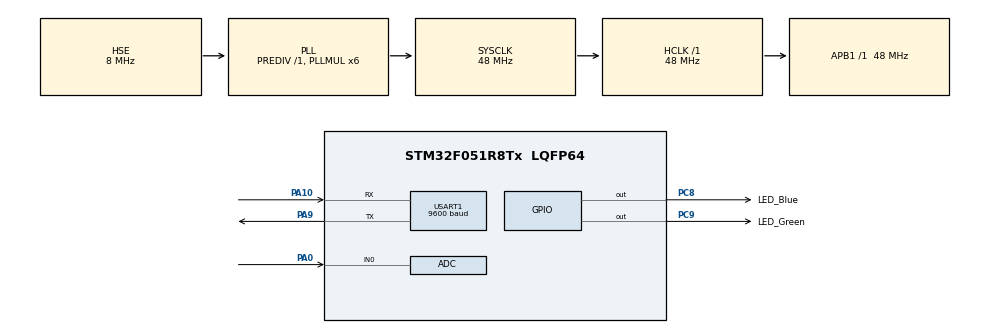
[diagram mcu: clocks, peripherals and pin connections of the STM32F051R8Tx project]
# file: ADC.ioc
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ADC.ContinuousConvMode=ENABLE
ADC.DMAContinuousRequests=DISABLE
ADC.Resolution=ADC_RESOLUTION_8B
Dma.ADC.0.Direction=DMA_PERIPH_TO_MEMORY
Dma.ADC.0.Instance=DMA1_Channel1
Dma.ADC.0.MemDataAlignment=DMA_MDATAALIGN_BYTE
Dma.ADC.0.MemInc=DMA_MINC_ENABLE
Dma.ADC.0.Mode=DMA_CIRCULAR
Dma.ADC.0.PeriphDataAlignment=DMA_PDATAALIGN_BYTE
Dma.ADC.0.PeriphInc=DMA_PINC_DISABLE
Dma.ADC.0.Priority=DMA_PRIORITY_LOW
Dma.Request0=ADC
Mcu.Family=STM32F0
Mcu.Name=STM32F051R8Tx
Mcu.Package=LQFP64
NVIC.DMA1_Channel1_IRQn=true\:0\:0\:false\:false\:true\:false\:true\:true
NVIC.TIM6_DAC_IRQn=true\:0\:0\:false\:false\:true\:true\:true\:true
NVIC.USART1_IRQn=true\:0\:0\:false\:false\:true\:true\:true\:true
PA0.Mode=IN0
PA0.Signal=ADC_IN0
PA10.Mode=Asynchronous
PA10.Signal=USART1_RX
PA9.Mode=Asynchronous
PA9.Signal=USART1_TX
PC8.GPIO_Label=LED_Blue
PC8.Signal=GPIO_Output
PC9.GPIO_Label=LED_Green
PC9.Signal=GPIO_Output
PF0-OSC_IN.Mode=HSE-External-Oscillator
PF0-OSC_IN.Signal=RCC_OSC_IN
PF1-OSC_OUT.Mode=HSE-External-Oscillator
PF1-OSC_OUT.Signal=RCC_OSC_OUT
ProjectManager.HeapSize=0x200
ProjectManager.StackSize=0x400
ProjectManager.TargetToolchain=STM32CubeIDE
RCC.AHBFreq_Value=48000000
RCC.APB1Freq_Value=48000000
RCC.APB1TimFreq_Value=48000000
RCC.HCLKFreq_Value=48000000
RCC.PLLMUL=RCC_PLL_MUL6
RCC.PLLSourceVirtual=RCC_PLLSOURCE_HSE
RCC.SYSCLKFreq_VALUE=48000000
RCC.SYSCLKSource=RCC_SYSCLKSOURCE_PLLCLK
TIM6.Period=1000-1
TIM6.Prescaler=48000-1
USART1.BaudRate=9600
USART1.VirtualMode-Asynchronous=VM_ASYNC
VP_TIM6_VS_ClockSourceINT.Mode=Enable_Timer
board=custom

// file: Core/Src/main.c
/* USER CODE BEGIN Header */
/**
  ******************************************************************************
  * @file           : main.c
  * @brief          : Main program body
  ******************************************************************************
  * @attention
  *
  * Copyright (c) 2024 STMicroelectronics.
  * All rights reserved.
  *
  * This software is licensed under terms that can be found in the LICENSE file
  * in the root directory of this software component.
  * If no LICENSE file comes with this software, it is provided AS-IS.
  *
  ******************************************************************************
  */
/* USER CODE END Header */
#include "main.h"

ADC_HandleTypeDef hadc;
DMA_HandleTypeDef hdma_adc;

TIM_HandleTypeDef htim6;

UART_HandleTypeDef huart1;

/* USER CODE BEGIN PV */

uint8_t adc_val;
char uart_buffer[50];
uint8_t dma_buffer;

/* USER CODE END PV */

void SystemClock_Config(void);
static void MX_GPIO_Init(void);
static void MX_DMA_Init(void);
static void MX_TIM6_Init(void);
static void MX_USART1_UART_Init(void);
static void MX_ADC_Init(void);

int main(void)
{

  /* MCU Configuration--------------------------------------------------------*/

  /* Reset of all peripherals, Initializes the Flash interface and the Systick. */
  HAL_Init();

  /* Configure the system clock */
  SystemClock_Config();

  /* Initialize all configured peripherals */
  MX_GPIO_Init();
  MX_DMA_Init();
  MX_TIM6_Init();
  MX_USART1_UART_Init();
  MX_ADC_Init();
  /* USER CODE BEGIN 2 */

  // Send message through UART at programm start
  uint8_t msg_init[] = "Program started.\n";
  HAL_UART_Transmit(&huart1, msg_init, sizeof(msg_init), HAL_MAX_DELAY);
  // Blink Green LED at programm start
  HAL_GPIO_TogglePin(GPIOC, LED_Green_Pin);

  // Start the timer (TIM6) Interrupt Handler
  HAL_TIM_Base_Start_IT(&htim6);

  /* USER CODE END 2 */

  /* Infinite loop */
  /* USER CODE BEGIN WHILE */
  while (1)
  {
	  __WFI();
    /* USER CODE END WHILE */

  }
}

void SystemClock_Config(void)
{
  RCC_OscInitTypeDef RCC_OscInitStruct = {0};
  RCC_ClkInitTypeDef RCC_ClkInitStruct = {0};
  RCC_PeriphCLKInitTypeDef PeriphClkInit = {0};

  /** Initializes the RCC Oscillators according to the specified parameters
  * in the RCC_OscInitTypeDef structure.
  */
  RCC_OscInitStruct.OscillatorType = RCC_OSCILLATORTYPE_HSI14|RCC_OSCILLATORTYPE_HSE;
  RCC_OscInitStruct.HSEState = RCC_HSE_ON;
  RCC_OscInitStruct.HSI14State = RCC_HSI14_ON;
  RCC_OscInitStruct.HSI14CalibrationValue = 16;
  RCC_OscInitStruct.PLL.PLLState = RCC_PLL_ON;
  RCC_OscInitStruct.PLL.PLLSource = RCC_PLLSOURCE_HSE;
  RCC_OscInitStruct.PLL.PLLMUL = RCC_PLL_MUL6;
  RCC_OscInitStruct.PLL.PREDIV = RCC_PREDIV_DIV1;
  if (HAL_RCC_OscConfig(&RCC_OscInitStruct) != HAL_OK)
  {
    Error_Handler();
  }

  /** Initializes the CPU, AHB and APB buses clocks
  */
  RCC_ClkInitStruct.ClockType = RCC_CLOCKTYPE_HCLK|RCC_CLOCKTYPE_SYSCLK
                              |RCC_CLOCKTYPE_PCLK1;
  RCC_ClkInitStruct.SYSCLKSource = RCC_SYSCLKSOURCE_PLLCLK;
  RCC_ClkInitStruct.AHBCLKDivider = RCC_SYSCLK_DIV1;
  RCC_ClkInitStruct.APB1CLKDivider = RCC_HCLK_DIV1;

  if (HAL_RCC_ClockConfig(&RCC_ClkInitStruct, FLASH_LATENCY_1) != HAL_OK)
  {
    Error_Handler();
  }
  PeriphClkInit.PeriphClockSelection = RCC_PERIPHCLK_USART1;
  PeriphClkInit.Usart1ClockSelection = RCC_USART1CLKSOURCE_PCLK1;
  if (HAL_RCCEx_PeriphCLKConfig(&PeriphClkInit) != HAL_OK)
  {
    Error_Handler();
  }
}

static void MX_ADC_Init(void)
{

  ADC_ChannelConfTypeDef sConfig = {0};

  /** Configure the global features of the ADC (Clock, Resolution, Data Alignment and number of conversion)
  */
  hadc.Instance = ADC1;
  hadc.Init.ClockPrescaler = ADC_CLOCK_ASYNC_DIV1;
  hadc.Init.Resolution = ADC_RESOLUTION_8B;
  hadc.Init.DataAlign = ADC_DATAALIGN_RIGHT;
  hadc.Init.ScanConvMode = ADC_SCAN_DIRECTION_FORWARD;
  hadc.Init.EOCSelection = ADC_EOC_SINGLE_CONV;
  hadc.Init.LowPowerAutoWait = DISABLE;
  hadc.Init.LowPowerAutoPowerOff = DISABLE;
  hadc.Init.ContinuousConvMode = ENABLE;
  hadc.Init.DiscontinuousConvMode = DISABLE;
  hadc.Init.ExternalTrigConv = ADC_SOFTWARE_START;
  hadc.Init.ExternalTrigConvEdge = ADC_EXTERNALTRIGCONVEDGE_NONE;
  hadc.Init.DMAContinuousRequests = DISABLE;
  hadc.Init.Overrun = ADC_OVR_DATA_PRESERVED;
  if (HAL_ADC_Init(&hadc) != HAL_OK)
  {
    Error_Handler();
  }

  /** Configure for the selected ADC regular channel to be converted.
  */
  sConfig.Channel = ADC_CHANNEL_0;
  sConfig.Rank = ADC_RANK_CHANNEL_NUMBER;
  sConfig.SamplingTime = ADC_SAMPLETIME_1CYCLE_5;
  if (HAL_ADC_ConfigChannel(&hadc, &sConfig) != HAL_OK)
  {
    Error_Handler();
  }

}

static void MX_TIM6_Init(void)
{

  TIM_MasterConfigTypeDef sMasterConfig = {0};

  htim6.Instance = TIM6;
  htim6.Init.Prescaler = 48000-1;
  htim6.Init.CounterMode = TIM_COUNTERMODE_UP;
  htim6.Init.Period = 1000-1;
  htim6.Init.AutoReloadPreload = TIM_AUTORELOAD_PRELOAD_DISABLE;
  if (HAL_TIM_Base_Init(&htim6) != HAL_OK)
  {
    Error_Handler();
  }
  sMasterConfig.MasterOutputTrigger = TIM_TRGO_RESET;
  sMasterConfig.MasterSlaveMode = TIM_MASTERSLAVEMODE_DISABLE;
  if (HAL_TIMEx_MasterConfigSynchronization(&htim6, &sMasterConfig) != HAL_OK)
  {
    Error_Handler();
  }

}

static void MX_USART1_UART_Init(void)
{

  huart1.Instance = USART1;
  huart1.Init.BaudRate = 9600;
  huart1.Init.WordLength = UART_WORDLENGTH_8B;
  huart1.Init.StopBits = UART_STOPBITS_1;
  huart1.Init.Parity = UART_PARITY_NONE;
  huart1.Init.Mode = UART_MODE_TX_RX;
  huart1.Init.HwFlowCtl = UART_HWCONTROL_NONE;
  huart1.Init.OverSampling = UART_OVERSAMPLING_16;
  huart1.Init.OneBitSampling = UART_ONE_BIT_SAMPLE_DISABLE;
  huart1.AdvancedInit.AdvFeatureInit = UART_ADVFEATURE_NO_INIT;
  if (HAL_UART_Init(&huart1) != HAL_OK)
  {
    Error_Handler();
  }

}

static void MX_DMA_Init(void)
{

  /* DMA controller clock enable */
  __HAL_RCC_DMA1_CLK_ENABLE();

  /* DMA interrupt init */
  /* DMA1_Channel1_IRQn interrupt configuration */
  HAL_NVIC_SetPriority(DMA1_Channel1_IRQn, 0, 0);
  HAL_NVIC_EnableIRQ(DMA1_Channel1_IRQn);

}

static void MX_GPIO_Init(void)
{
  GPIO_InitTypeDef GPIO_InitStruct = {0};

  /* GPIO Ports Clock Enable */
  __HAL_RCC_GPIOF_CLK_ENABLE();
  __HAL_RCC_GPIOA_CLK_ENABLE();
  __HAL_RCC_GPIOC_CLK_ENABLE();

  /*Configure GPIO pin Output Level */
  HAL_GPIO_WritePin(GPIOC, LED_Blue_Pin|LED_Green_Pin, GPIO_PIN_RESET);

  /*Configure GPIO pins : LED_Blue_Pin LED_Green_Pin */
  GPIO_InitStruct.Pin = LED_Blue_Pin|LED_Green_Pin;
  GPIO_InitStruct.Mode = GPIO_MODE_OUTPUT_PP;
  GPIO_InitStruct.Pull = GPIO_NOPULL;
  GPIO_InitStruct.Speed = GPIO_SPEED_FREQ_LOW;
  HAL_GPIO_Init(GPIOC, &GPIO_InitStruct);

}

/* USER CODE BEGIN 4 */

void HAL_TIM_PeriodElapsedCallback(TIM_HandleTypeDef *htim)
{
  if (htim->Instance == TIM6){
	// Toggle the LED
	HAL_GPIO_TogglePin(GPIOC, LED_Green_Pin);	// PC8 - Blue LED

	/*
	HAL_ADC_Start(&hadc); // start the adc
	HAL_ADC_PollForConversion(&hadc, 100);
	adc_val = HAL_ADC_GetValue(&hadc);
	HAL_ADC_Stop(&hadc);
	*/

	// Interrupt mode without DMA
	// HAL_ADC_Start_IT (&hadc);

	// Interrupt with DMA
	HAL_ADC_Start_DMA(&hadc, &dma_buffer, 1);
  }
}

void HAL_ADC_ConvCpltCallback(ADC_HandleTypeDef* hadc)
{
	// Toggle the LED
	HAL_GPIO_TogglePin(GPIOC, LED_Blue_Pin);	// PC9 - Green LED

	// Interrupt mode without DMA
  	/*
	// Uncomment below line when the "continuous conversion mode" is DISABLED
	HAL_ADC_Start_IT (&hadc1);
	*/

	// Interrupt with DMA
	adc_val = dma_buffer;
	// Uncomment below line if "DMA Request Settings > Mode" is NORMAL
	// HAL_ADC_Start_DMA(&hadc, &dma_buffer, 1);

	/* Send message through UART */
	snprintf(uart_buffer, 100, "Channel Read: %d\r\n", adc_val);
	HAL_UART_Transmit(&huart1, (uint8_t *) uart_buffer, sizeof(uart_buffer), HAL_MAX_DELAY);
}

/* USER CODE END 4 */

void Error_Handler(void)
{
  __disable_irq();
  while (1)
  {
  }
}
